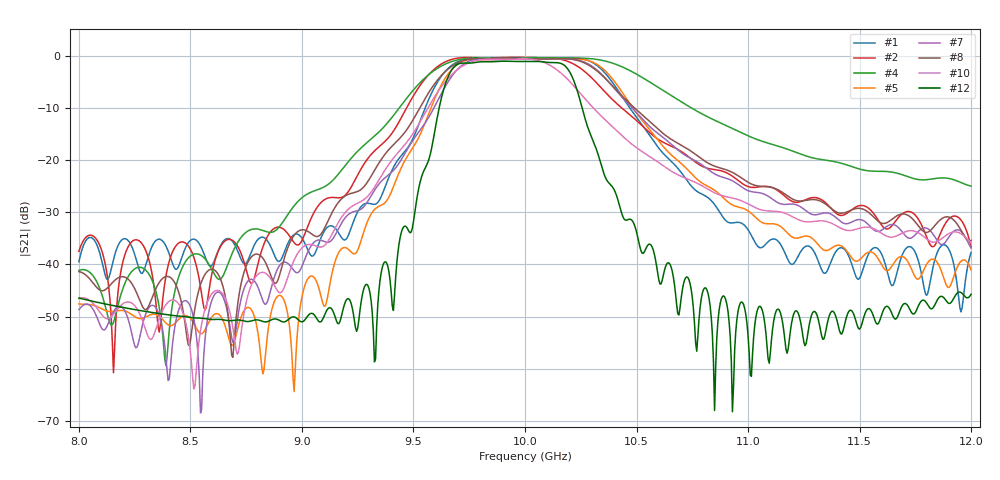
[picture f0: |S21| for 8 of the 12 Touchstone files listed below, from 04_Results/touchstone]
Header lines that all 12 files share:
! openEMS v0.37 FDTD, reciprocal & symmetric: S22=S11, S12=S21
# GHz S MA R 50
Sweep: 8 GHz to 12 GHz
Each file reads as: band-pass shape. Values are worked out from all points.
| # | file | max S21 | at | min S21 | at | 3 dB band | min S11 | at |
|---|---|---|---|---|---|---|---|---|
| 1 | board_improved_post3.s2p | -0.43 dB | 10.09 GHz | -49.1 dB | 11.96 GHz | 9.635 GHz-10.36 GHz | -34.6 dB | 10.11 GHz |
| 2 | board_paper_post3.s2p | -0.34 dB | 9.945 GHz | -60.8 dB | 8.155 GHz | 9.58 GHz-10.28 GHz | -31.1 dB | 9.695 GHz |
| 3 | improved_n3r002.s2p | -0.38 dB | 10.07 GHz | -59.4 dB | 8.175 GHz | 9.54 GHz-10.57 GHz | -59.3 dB | 9.84 GHz |
| 4 | improved_n3r003.s2p | -0.41 dB | 10.04 GHz | -59.4 dB | 8.39 GHz | 9.58 GHz-10.49 GHz | -48.3 dB | 9.805 GHz |
| 5 | improved_n4r003.s2p | -0.60 dB | 10.08 GHz | -64.3 dB | 8.965 GHz | 9.655 GHz-10.37 GHz | -48.3 dB | 10.03 GHz |
| 6 | iris3_butter.s2p | -0.71 dB | 10.05 GHz | -75.7 dB | 8.68 GHz | 9.76 GHz-10.23 GHz | -47.5 dB | 9.895 GHz |
| 7 | iris3_cheby.s2p | -0.58 dB | 9.985 GHz | -68.5 dB | 8.545 GHz | 9.68 GHz-10.34 GHz | -34.8 dB | 10.01 GHz |
| 8 | iris3_cheby_vias.s2p | -0.56 dB | 9.795 GHz | -57.8 dB | 8.69 GHz | 9.635 GHz-10.34 GHz | -56.9 dB | 9.78 GHz |
| 9 | iris5_cheby.s2p | -1.16 dB | 10.02 GHz | -80.4 dB | 11.19 GHz | 9.72 GHz-10.24 GHz | -31.8 dB | 10.12 GHz |
| 10 | post3_butter.s2p | -0.65 dB | 9.995 GHz | -63.9 dB | 8.515 GHz | 9.675 GHz-10.16 GHz | -37.7 dB | 9.985 GHz |
| 11 | post3_cheby.s2p | -0.50 dB | 9.925 GHz | -72.2 dB | 8.54 GHz | 9.585 GHz-10.29 GHz | -35.6 dB | 9.705 GHz |
| 12 | post5_cheby.s2p | -1.08 dB | 9.905 GHz | -68.2 dB | 10.93 GHz | 9.66 GHz-10.21 GHz | -35.9 dB | 9.765 GHz |
